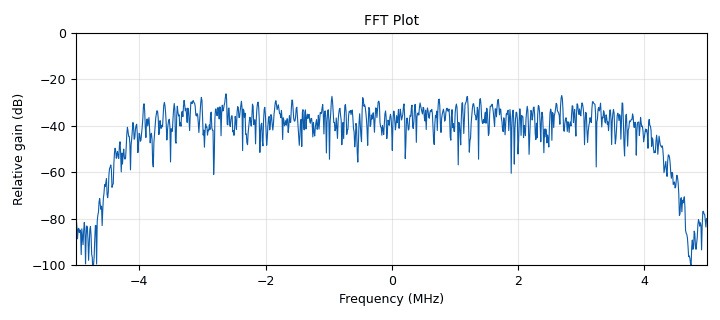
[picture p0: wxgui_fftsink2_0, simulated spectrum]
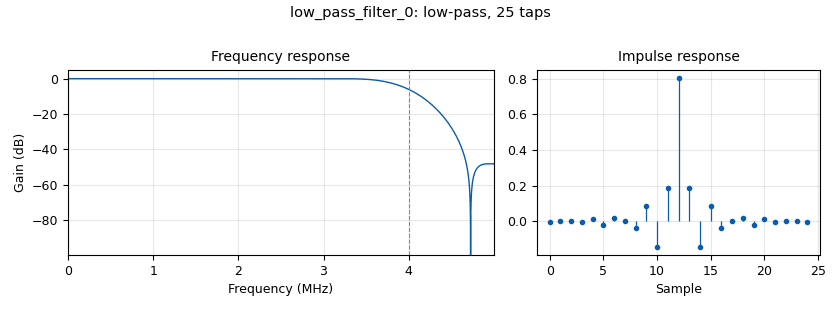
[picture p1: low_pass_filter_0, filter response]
<?xml version='1.0' encoding='utf-8'?>
<?grc format='1' created='3.7.13'?>
<flow_graph>
<block>
<key>options</key>
<param><key>id</key><value>top_block</value></param>
<param><key>generate_options</key><value>wx_gui</value></param>
</block>
<block>
<key>variable_slider</key>
<param><key>id</key><value>freq</value></param>
<param><key>converver</key><value>float_converter</value></param>
<param><key>value</key><value>2412000000</value></param>
<param><key>label</key><value>frequency</value></param>
<param><key>max</key><value>3800000000</value></param>
<param><key>min</key><value>325000000</value></param>
<param><key>num_steps</key><value>100</value></param>
<param><key>style</key><value>wx.SL_HORIZONTAL</value></param>
</block>
<block>
<key>variable</key>
<param><key>id</key><value>samp_rate</value></param>
<param><key>value</key><value>10000000</value></param>
</block>
<block>
<key>analog_noise_source_x</key>
<param><key>id</key><value>analog_noise_source_x_0</value></param>
<param><key>amp</key><value>1</value></param>
<param><key>noise_type</key><value>analog.GR_UNIFORM</value></param>
<param><key>type</key><value>complex</value></param>
<param><key>seed</key><value>0</value></param>
</block>
<block>
<key>low_pass_filter</key>
<param><key>id</key><value>low_pass_filter_0</value></param>
<param><key>beta</key><value>5</value></param>
<param><key>cutoff_freq</key><value>4000000</value></param>
<param><key>decim</key><value>1</value></param>
<param><key>type</key><value>fir_filter_ccf</value></param>
<param><key>gain</key><value>1</value></param>
<param><key>samp_rate</key><value>samp_rate</value></param>
<param><key>width</key><value>1000000</value></param>
<param><key>win</key><value>firdes.WIN_HAMMING</value></param>
</block>
<block>
<key>pluto_sink</key>
<param><key>id</key><value>pluto_sink_0</value></param>
<param><key>attenuation</key><value>10.0</value></param>
<param><key>buffer_size</key><value>0x8000</value></param>
<param><key>cyclic</key><value>False</value></param>
<param><key>auto_filter</key><value>True</value></param>
<param><key>filter</key><value></value></param>
<param><key>uri</key><value></value></param>
<param><key>frequency</key><value>freq</value></param>
<param><key>bandwidth</key><value>20000000</value></param>
<param><key>samplerate</key><value>samp_rate</value></param>
</block>
<block>
<key>wxgui_fftsink2</key>
<param><key>id</key><value>wxgui_fftsink2_0</value></param>
<param><key>avg_alpha</key><value>0</value></param>
<param><key>average</key><value>False</value></param>
<param><key>baseband_freq</key><value>0</value></param>
<param><key>fft_size</key><value>1024</value></param>
<param><key>freqvar</key><value>None</value></param>
<param><key>peak_hold</key><value>False</value></param>
<param><key>ref_level</key><value>0</value></param>
<param><key>ref_scale</key><value>2.0</value></param>
<param><key>fft_rate</key><value>15</value></param>
<param><key>samp_rate</key><value>samp_rate</value></param>
<param><key>title</key><value>FFT Plot</value></param>
<param><key>type</key><value>complex</value></param>
<param><key>win</key><value>None</value></param>
<param><key>y_divs</key><value>10</value></param>
<param><key>y_per_div</key><value>10</value></param>
</block>
<connection><source_block_id>analog_noise_source_x_0</source_block_id><sink_block_id>low_pass_filter_0</sink_block_id><source_key>0</source_key><sink_key>0</sink_key></connection>
<connection><source_block_id>low_pass_filter_0</source_block_id><sink_block_id>pluto_sink_0</sink_block_id><source_key>0</source_key><sink_key>0</sink_key></connection>
<connection><source_block_id>low_pass_filter_0</source_block_id><sink_block_id>wxgui_fftsink2_0</sink_block_id><source_key>0</source_key><sink_key>0</sink_key></connection>
</flow_graph>
